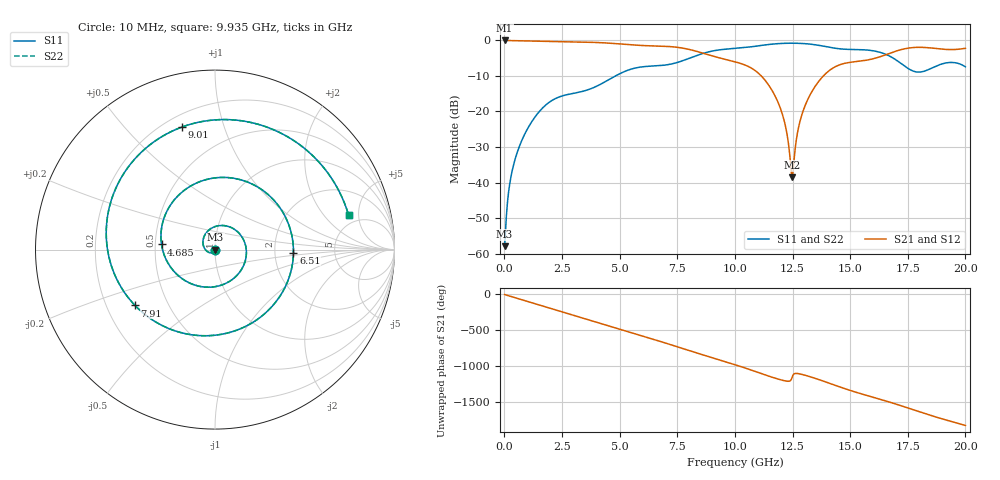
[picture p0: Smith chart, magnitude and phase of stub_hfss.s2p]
! Solver applicability map - 40 x 16 mm symmetric stripline
! Case: stub_hfss
! Sweep: 10 MHz - 20 GHz, 25 MHz step, 4 cores
# GHz S MA R 50.000000
! Terminal data exported
! Port[1] = U1.PAD1.SIG
! Port[2] = U2.PAD1.SIG
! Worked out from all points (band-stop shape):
!   801 points, 10 MHz to 20 GHz, reference 50 ohm
!   highest |S21| = -0.01 dB at 10 MHz (marker M1); lowest = -38.6 dB at 12.48 GHz (marker M2)
!   |S21| within 3 dB of the highest: start of sweep to 8.306 GHz; 16.99 GHz to end of sweep
!   lowest |S11| = -57.9 dB at 10 MHz (marker M3), VSWR 1.00, Z = 50.1 - j0.0139 ohm
!   |S11| at or under -10 dB: start of sweep to 4.818 GHz
!   |S22| runs from -57.9 to -0.8 dB; largest |S21 - S12| = 1.8e-14
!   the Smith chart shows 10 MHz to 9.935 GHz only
!   S11 on the Smith chart (normalised r, x): 10 MHz: 1.00, -0.00; 4.685 GHz: 0.54, +0.03; 6.51 GHz: 2.55, -0.10; 7.91 GHz: 0.32, -0.28; 9.01 GHz: 0.27, +0.73; 9.935 GHz: 3.99, +3.76
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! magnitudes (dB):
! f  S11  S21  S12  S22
! 10 MHz  -57.9  0.0  0.0  -57.9
! 335 MHz  -36.8  -0.1  -0.1  -36.8
! 960 MHz  -25.4  -0.1  -0.1  -25.4
! 1.96 GHz  -17.3  -0.3  -0.3  -17.3
! 3.36 GHz  -14.4  -0.5  -0.5  -14.4
! 4.685 GHz  -10.5  -0.8  -0.8  -10.5
! 6.51 GHz  -7.2  -1.6  -1.6  -7.2
! 6.685 GHz  -7.1  -1.6  -1.6  -7.1
! 7.91 GHz  -5.3  -2.4  -2.4  -5.3
! 9.01 GHz  -3.0  -4.3  -4.3  -3.0
! 9.935 GHz  -2.3  -5.9  -5.9  -2.3
! 10.01 GHz  -2.2  -6.0  -6.0  -2.2
! 10.96 GHz  -1.6  -8.9  -8.9  -1.6
! 11.69 GHz  -1.0  -14.9  -14.9  -1.0
! 12.13 GHz  -0.8  -22.5  -22.5  -0.8
! 12.48 GHz  -0.8  -38.6  -38.6  -0.8
! 12.86 GHz  -0.8  -21.9  -21.9  -0.8
! 13.36 GHz  -1.1  -14.2  -14.2  -1.1
! 14.38 GHz  -2.2  -7.3  -7.3  -2.2
! 16.68 GHz  -4.3  -3.7  -3.7  -4.3
! 17.89 GHz  -8.9  -2.0  -2.0  -8.9
! 20 GHz  -7.4  -2.2  -2.2  -7.4
